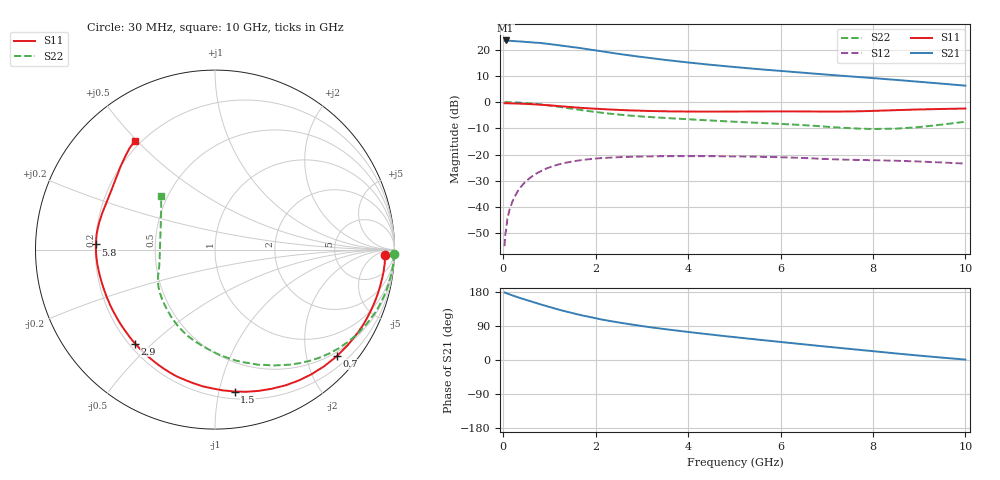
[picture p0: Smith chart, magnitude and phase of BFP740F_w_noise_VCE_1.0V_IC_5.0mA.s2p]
! Infineon Technologies  Discrete & RF Semiconductors
! BFP740F
! VCE =  1.0 V,  IC =  5.0 mA
! Common Emitter S-Parameters:  Oct 2012
# GHz  S  MA  R  50
!  f  S11  S21  S12  S22
! GHz  MAG  ANG  MAG  ANG  MAG  ANG  MAG  ANG
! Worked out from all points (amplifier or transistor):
!   99 points, 30 MHz to 10 GHz, reference 50 ohm
!   highest |S21| = 23.5 dB at 50 MHz (marker M1)
!   |S21| within 3 dB of that: start of sweep to 1.703 GHz
!   unconditionally stable (mu >= 1): 7.724 GHz to end of sweep
!   at 350 MHz: K = 0.04, MSG = 28.1 dB, |S12| = -33.1 dB
!   at 3.5 GHz: K = 0.33, MSG = 18.4 dB, |S12| = -20.6 dB
!   at 10 GHz: K = 1.27, MAG = 11.7 dB, |S12| = -23.4 dB
!   lowest NFmin = 0.37 dB at 450 MHz
!   S11 on the Smith chart (normalised r, x): 30 MHz: 28, -17; 700 MHz: 0.41, -2.61; 1.5 GHz: 0.26, -1.12; 2.9 GHz: 0.22, -0.44; 5.8 GHz: 0.20, +0.02; 10 GHz: 0.18, +0.49
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0.03  0.9498 -1.8  14.74 178.0  0.0018 81.0  0.9975 -1.3
0.05  0.9492 -3.0  14.9 177.3  0.0033 63.2  0.9975 -2.3
0.14  0.946 -8.6  14.66 173.1  0.0091 83.6  0.9938 -6.3
0.35  0.933 -21.1  14.27 164.3  0.0222 77.4  0.9768 -15.4
0.45  0.9257 -26.9  14.07 160.3  0.0285 73.7  0.9647 -19.7
0.7  0.9021 -41.1  13.5 150.9  0.0426 64.9  0.9243 -30.2
0.8  0.89 -47.0  13.37 147.1  0.0477 61.6  0.9043 -34.3
1  0.865 -57.7  12.74 139.9  0.057 54.9  0.8603 -42.3
1.2  0.8371 -67.9  12.1 133.0  0.0649 48.7  0.8127 -49.8
1.5  0.7983 -82.1  11.12 123.8  0.0739 40.7  0.7424 -60.1
1.7  0.7732 -91.2  10.55 117.9  0.0785 35.9  0.7 -66.6
2.1  0.738 -106.8  9.35 107.6  0.0854 27.4  0.6302 -79.1
2.3  0.7218 -113.5  8.795 103.1  0.0873 23.9  0.6015 -84.4
2.6  0.7022 -122.3  8.034 97.1  0.0898 19.1  0.5669 -91.6
2.9  0.6873 -130.4  7.394 91.5  0.0914 15.1  0.5389 -98.1
3.4  0.6695 -142.2  6.518 83.0  0.0929 9.2  0.5047 -107.4
4.2  0.6576 -157.7  5.438 71.2  0.0934 1.5  0.4603 -119.3
5.1  0.6605 -172.6  4.568 59.1  0.092 -5.7  0.4177 -132.0
5.8  0.6639 177.5  4.048 50.2  0.0898 -10.8  0.3918 -141.4
6.7  0.6606 163.9  3.497 38.9  0.0845 -16.4  0.3537 -153.9
8.5  0.7015 138.5  2.642 17.3  0.0762 -21.9  0.3112 168.3
10  0.752 126.5  2.053 1.1  0.0673 -26.1  0.4222 135.3
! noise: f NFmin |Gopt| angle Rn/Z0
0.45  0.37  0.38  7  0.2
0.9  0.42  0.38  14  0.17
1.5  0.5  0.37  24  0.14
1.9  0.55  0.35  33  0.14
2.4  0.61  0.33  42  0.13
3.5  0.76  0.31  65  0.12
5.5  1.02  0.2  113  0.15
10  1.55  0.42  -127  0.08
